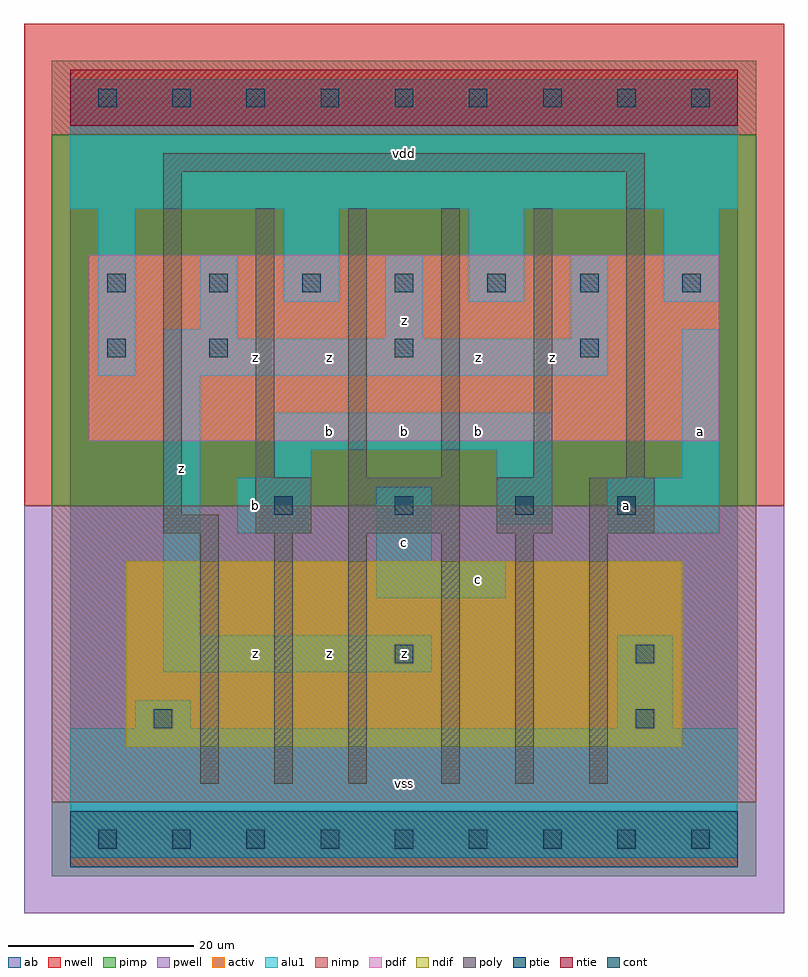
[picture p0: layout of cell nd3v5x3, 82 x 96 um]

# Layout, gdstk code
import gdstk
lib = gdstk.Library(unit=1e-6, precision=1e-09)
def R(c, l, rs):  # rectangles x0, y0, x1, y1
    for r in rs: c.add(gdstk.rectangle(r[:2], r[2:], *l))
def A(c, l, x, y, w, h, nx, ny, dx, dy):  # array of equal rectangles
    R(c, l, [(x+i*dx, y+j*dy, x+i*dx+w, y+j*dy+h) for i in range(nx) for j in range(ny)])
ndif = (3, 0)
pdif = (4, 0)
ntie = (5, 0)
ptie = (6, 0)
cont = (25, 0)
pwell = (41, 0)
nwell = (42, 0)
activ = (43, 0)
pimp = (44, 0)
nimp = (45, 0)
poly = (46, 0)
alu1 = (49, 0)
ab = (63, 0)

nd3v5x3 = lib.new_cell('nd3v5x3')
R(nd3v5x3, ndif, [(6,10,66,30)])
R(nd3v5x3, pdif, [(2,43,70,63)])
R(nd3v5x3, ntie, [(0,77,72,83)])
R(nd3v5x3, ptie, [(0,-3,72,3)])
A(nd3v5x3, cont, 3, -1, 2, 2, 9, 2, 8, 80)
A(nd3v5x3, cont, 22, 35, 2, 2, 3, 1, 13, 0)
A(nd3v5x3, cont, 15, 52, 2, 2, 3, 1, 20, 0)
A(nd3v5x3, cont, 15, 59, 2, 2, 5, 1, 10, 0)
R(nd3v5x3, cont, [(9,12,11,14), (61,12,63,14), (35,19,37,21), (61,19,63,21), (59,35,61,37), (4,52,6,54), (4,59,6,61), (66,59,68,61)])
R(nd3v5x3, pwell, [(-5,-8,77,36)])
R(nd3v5x3, nwell, [(-5,36,77,88)])
R(nd3v5x3, activ, [(0,-3,72,3), (6,10,66,30), (2,43,70,63), (0,77,72,83)])
R(nd3v5x3, pimp, [(-2,-4,74,4), (-2,36,74,76)])
R(nd3v5x3, nimp, [(-2,4,74,36), (-2,76,74,84)])
A(nd3v5x3, poly, 14, 6, 2, 27, 3, 1, 8, 0)
A(nd3v5x3, poly, 40, 6, 2, 27, 3, 1, 8, 0)
A(nd3v5x3, poly, 20, 39, 2, 29, 4, 1, 10, 0)
R(nd3v5x3, poly, [(10,33,16,35), (20,33,26,39), (30,33,42,39), (46,33,52,39), (56,33,63,39), (10,35,12,72), (60,39,62,72), (10,72,62,74)])
R(nd3v5x3, alu1, [(0,-2,72,12), (7,12,13,15), (59,12,65,22), (10,18,39,22), (10,22,14,50), (33,26,47,30), (33,30,39,38), (18,33,26,39), (58,33,70,39), (46,34,52,42), (22,39,26,42), (66,39,70,55), (22,42,52,46), (3,50,7,68), (10,50,58,54), (10,54,18,55), (34,54,38,63), (54,54,58,63), (14,55,18,63), (23,58,29,68), (43,58,49,68), (64,58,70,68), (0,68,72,82)])
R(nd3v5x3, ab, [(0,0,72,80)])
nd3v5x3.add(gdstk.Label('z', (12,40), layer=49, texttype=0))
nd3v5x3.add(gdstk.Label('z', (28,20), layer=49, texttype=0))
nd3v5x3.add(gdstk.Label('z', (20,20), layer=49, texttype=0))
nd3v5x3.add(gdstk.Label('b', (20,36), layer=49, texttype=0))
nd3v5x3.add(gdstk.Label('b', (28,44), layer=49, texttype=0))
nd3v5x3.add(gdstk.Label('z', (20,52), layer=49, texttype=0))
nd3v5x3.add(gdstk.Label('z', (28,52), layer=49, texttype=0))
nd3v5x3.add(gdstk.Label('vss', (36,6), layer=49, texttype=0))
nd3v5x3.add(gdstk.Label('z', (36,20), layer=49, texttype=0))
nd3v5x3.add(gdstk.Label('c', (36,32), layer=49, texttype=0))
nd3v5x3.add(gdstk.Label('c', (44,28), layer=49, texttype=0))
nd3v5x3.add(gdstk.Label('b', (44,44), layer=49, texttype=0))
nd3v5x3.add(gdstk.Label('b', (36,44), layer=49, texttype=0))
nd3v5x3.add(gdstk.Label('z', (36,56), layer=49, texttype=0))
nd3v5x3.add(gdstk.Label('z', (44,52), layer=49, texttype=0))
nd3v5x3.add(gdstk.Label('z', (52,52), layer=49, texttype=0))
nd3v5x3.add(gdstk.Label('vdd', (36,74), layer=49, texttype=0))
nd3v5x3.add(gdstk.Label('a', (60,36), layer=49, texttype=0))
nd3v5x3.add(gdstk.Label('a', (68,44), layer=49, texttype=0))

lib.write_gds('nd3v5x3.gds')
